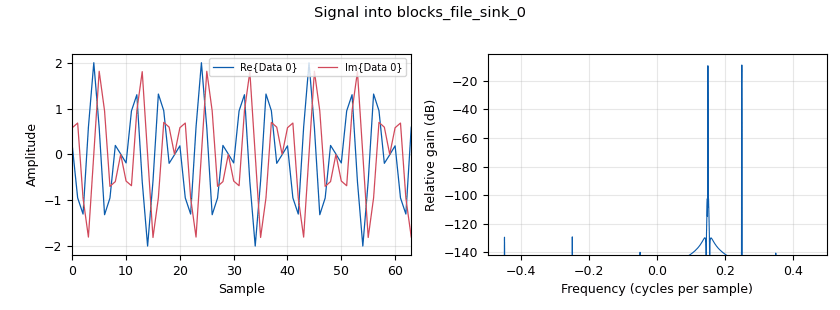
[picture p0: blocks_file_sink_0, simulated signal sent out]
<?xml version='1.0' encoding='utf-8'?>
<?grc format='1' created='3.7.11'?>
<flow_graph>
<block>
<key>options</key>
<param><key>id</key><value>top_block</value></param>
<param><key>generate_options</key><value>wx_gui</value></param>
</block>
<block>
<key>variable</key>
<param><key>id</key><value>center_freq</value></param>
<param><key>value</key><value>3e6</value></param>
</block>
<block>
<key>variable</key>
<param><key>id</key><value>samp_rate</value></param>
<param><key>value</key><value>20e6</value></param>
</block>
<block>
<key>analog_sig_source_x</key>
<param><key>id</key><value>analog_sig_source_x_0</value></param>
<param><key>amp</key><value>1</value></param>
<param><key>freq</key><value>center_freq</value></param>
<param><key>offset</key><value>0</value></param>
<param><key>type</key><value>complex</value></param>
<param><key>samp_rate</key><value>samp_rate</value></param>
<param><key>waveform</key><value>analog.GR_COS_WAVE</value></param>
</block>
<block>
<key>analog_sig_source_x</key>
<param><key>id</key><value>analog_sig_source_x_1</value></param>
<param><key>amp</key><value>1</value></param>
<param><key>freq</key><value>5e6</value></param>
<param><key>offset</key><value>0</value></param>
<param><key>type</key><value>complex</value></param>
<param><key>samp_rate</key><value>samp_rate</value></param>
<param><key>waveform</key><value>analog.GR_COS_WAVE</value></param>
</block>
<block>
<key>blocks_add_xx</key>
<param><key>id</key><value>blocks_add_xx_0</value></param>
<param><key>type</key><value>complex</value></param>
</block>
<block>
<key>blocks_file_sink</key>
<param><key>id</key><value>blocks_file_sink_0</value></param>
<param><key>file</key><value>/home/asanka/Documents/github/EMvidence/EMvidence/sdr-drivers/etc/grc-scripts/temp-data.cfile</value></param>
<param><key>type</key><value>complex</value></param>
</block>
<block>
<key>blocks_throttle</key>
<param><key>id</key><value>blocks_throttle_0</value></param>
<param><key>samples_per_second</key><value>samp_rate</value></param>
<param><key>type</key><value>complex</value></param>
</block>
<block>
<key>zeromq_pub_sink</key>
<param><key>id</key><value>zeromq_pub_sink_0</value></param>
<param><key>address</key><value>tcp://127.0.0.1:5557</value></param>
<param><key>_enabled</key><value>0</value></param>
<param><key>type</key><value>complex</value></param>
<param><key>timeout</key><value>1</value></param>
</block>
<connection><source_block_id>analog_sig_source_x_0</source_block_id><sink_block_id>blocks_add_xx_0</sink_block_id><source_key>0</source_key><sink_key>0</sink_key></connection>
<connection><source_block_id>analog_sig_source_x_1</source_block_id><sink_block_id>blocks_add_xx_0</sink_block_id><source_key>0</source_key><sink_key>1</sink_key></connection>
<connection><source_block_id>blocks_add_xx_0</source_block_id><sink_block_id>blocks_throttle_0</sink_block_id><source_key>0</source_key><sink_key>0</sink_key></connection>
<connection><source_block_id>blocks_throttle_0</source_block_id><sink_block_id>blocks_file_sink_0</sink_block_id><source_key>0</source_key><sink_key>0</sink_key></connection>
<connection><source_block_id>blocks_throttle_0</source_block_id><sink_block_id>zeromq_pub_sink_0</sink_block_id><source_key>0</source_key><sink_key>0</sink_key></connection>
</flow_graph>
